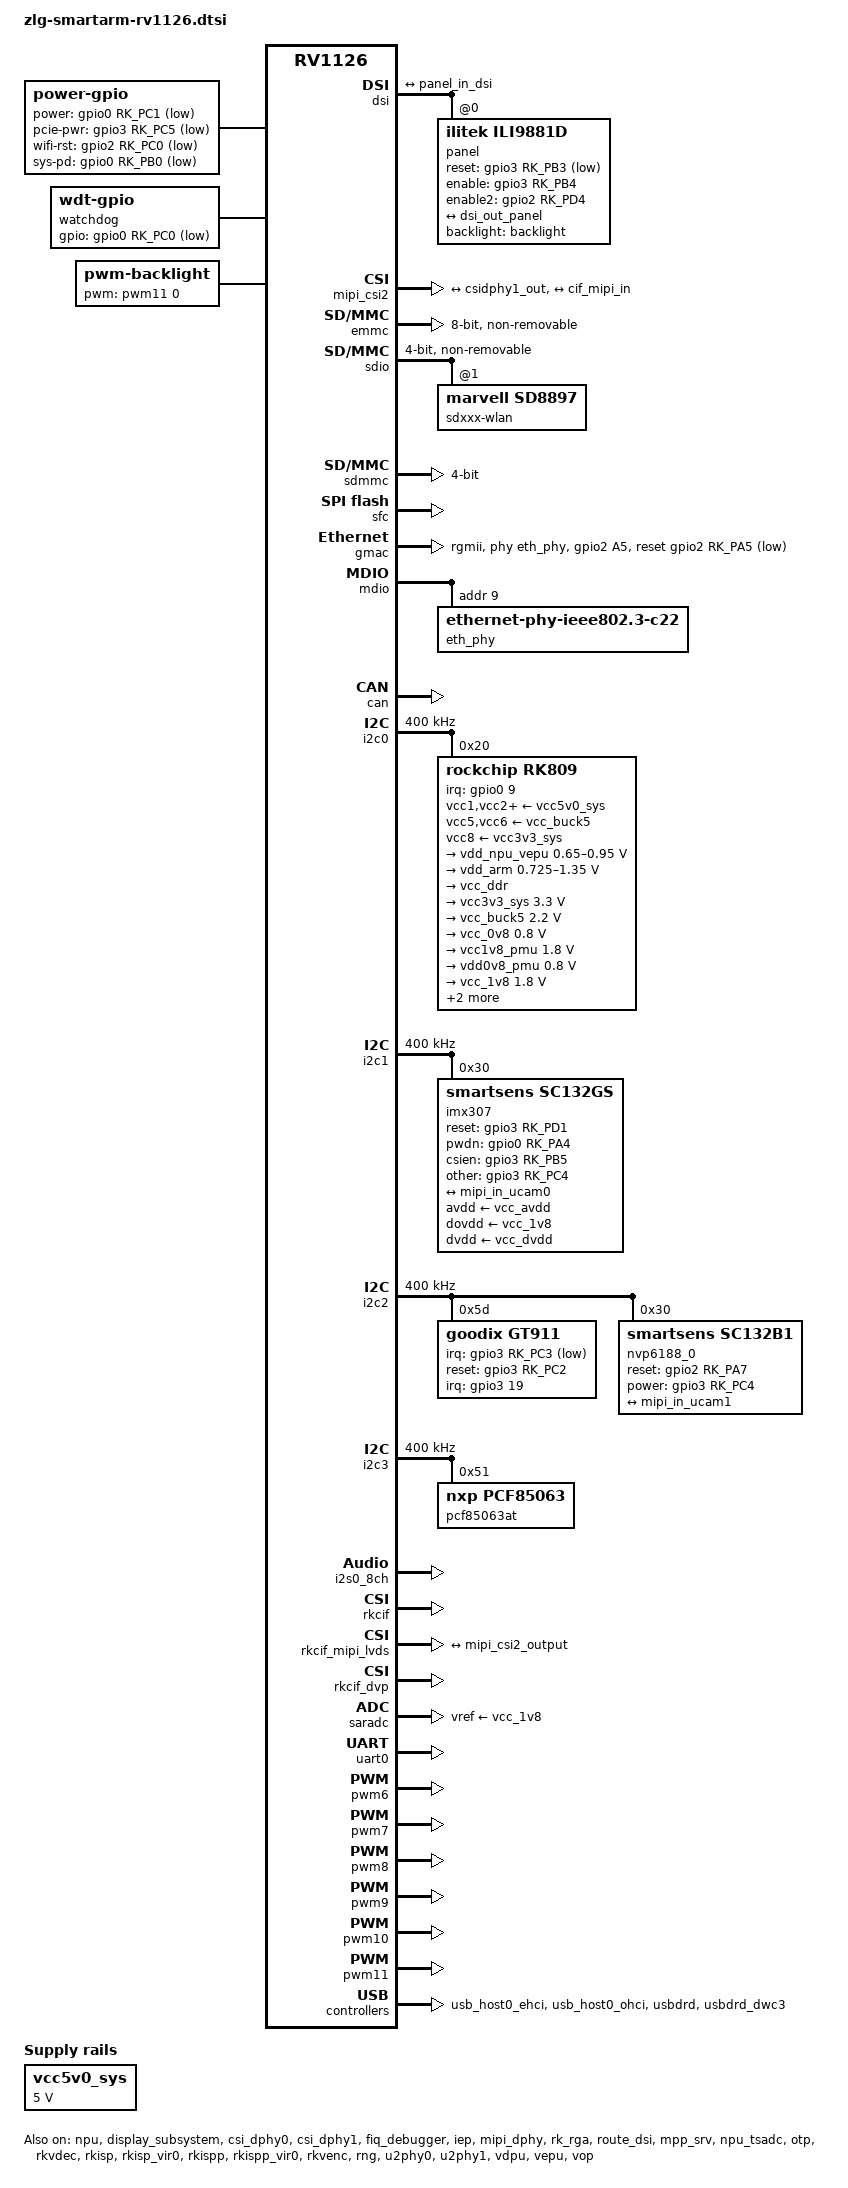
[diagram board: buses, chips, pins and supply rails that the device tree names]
/dts-v1/;
#include <dt-bindings/display/drm_mipi_dsi.h>
#include <dt-bindings/input/input.h>
#include "rv1126.dtsi"
/ {

	power-gpio {
		compatible = "power-gpio";
		pinctrl-names = "default";
		pinctrl-0 = <&power_gpio_h>;
		power-gpios = <&gpio0 RK_PC1 GPIO_ACTIVE_LOW>;
		pcie-pwr = <&gpio3 RK_PC5 GPIO_ACTIVE_LOW>;
		wifi-rst = <&gpio2 RK_PC0 GPIO_ACTIVE_LOW>;
		sys-pd = <&gpio0 RK_PB0 GPIO_ACTIVE_LOW>;
		u-boot,dm-spl;
		status = "okay"; 
	};

	watchdog: watchdog {
		compatible = "linux,wdt-gpio";
		pinctrl-name = "default";
        pinctrl-0 = <&wdg_gpio_h>;
		gpios = <&gpio0 RK_PC0 GPIO_ACTIVE_LOW>;
		hw_algo = "toggle";
		hw_margin_ms = <600>; 
		always-running;
	}; 

	rk809_sound: rk809-sound {
		compatible = "simple-audio-card";
		simple-audio-card,format = "i2s";
		simple-audio-card,name = "rockchip,rk809-codec";
		simple-audio-card,mclk-fs = <256>;
		simple-audio-card,widgets =
			"Microphone", "Mic Jack",
			"Headphone", "Headphone Jack";
		simple-audio-card,routing =
			"Mic Jack", "MICBIAS1",
			"IN1P", "Mic Jack",
			"Headphone Jack", "HPOL",
			"Headphone Jack", "HPOR"; 
		simple-audio-card,cpu {
			sound-dai = <&i2s0_8ch>;
		};
		simple-audio-card,codec {
			sound-dai = <&rk809_codec>;
		};
	};

	dummy_codec: dummy-codec {
		compatible = "rockchip,dummy-codec";
		#sound-dai-cells = <0>;
	};

	pdm_mic_array: pdm-mic_array {
		status = "disabled";
		compatible = "simple-audio-card";
		simple-audio-card,name = "rockchip,pdm-mic-array";
		simple-audio-card,cpu {
			sound-dai = <&pdm>;
		};
		simple-audio-card,codec {
			sound-dai = <&dummy_codec>;
		};
	};

	backlight: backlight {
		compatible = "pwm-backlight";
		pwms = <&pwm11 0 25000 0>;
		brightness-levels = <
			  0   1   2   3   4   5   6   7
			  8   9  10  11  12  13  14  15
			 16  17  18  19  20  21  22  23
			 24  25  26  27  28  29  30  31
			 32  33  34  35  36  37  38  39
			 40  41  42  43  44  45  46  47
			 48  49  50  51  52  53  54  55
			 56  57  58  59  60  61  62  63
			 64  65  66  67  68  69  70  71
			 72  73  74  75  76  77  78  79
			 80  81  82  83  84  85  86  87
			 88  89  90  91  92  93  94  95
			 96  97  98  99 100 101 102 103
			104 105 106 107 108 109 110 111
			112 113 114 115 116 117 118 119
			120 121 122 123 124 125 126 127
			128 129 130 131 132 133 134 135
			136 137 138 139 140 141 142 143
			144 145 146 147 148 149 150 151
			152 153 154 155 156 157 158 159
			160 161 162 163 164 165 166 167
			168 169 170 171 172 173 174 175
			176 177 178 179 180 181 182 183
			184 185 186 187 188 189 190 191
			192 193 194 195 196 197 198 199
			200 201 202 203 204 205 206 207
			208 209 210 211 212 213 214 215
			216 217 218 219 220 221 222 223
			224 225 226 227 228 229 230 231
			232 233 234 235 236 237 238 239
			240 241 242 243 244 245 246 247
			248 249 250 251 252 253 254 255>;
		default-brightness-level = <200>;
	};

	vcc5v0_sys: vccsys {
		compatible = "regulator-fixed";
		regulator-name = "vcc5v0_sys";
		regulator-always-on;
		regulator-boot-on;
		regulator-min-microvolt = <5000000>;
		regulator-max-microvolt = <5000000>;
	};
};

&npu {
	npu-supply = <&vdd_npu_vepu>;
};

&rkvenc_opp_table {
	/*
	 * max IR-drop values on different freq condition for this board!
	 */
	rockchip,board-irdrop = <
	     /* MHz	MHz	uV */
		500	594	50000
	>;
};


&cpu0 {
	cpu-supply = <&vdd_arm>;
};

&cpu_tsadc {
	status = "okay";
};

&display_subsystem {
	status = "okay";
};

&dsi {
	status = "okay";

	rockchip,lane-rate = <480>;
	panel@0 {
		compatible = "ilitek,ili9881d", "simple-panel-dsi";
		pinctrl-names = "default";
		pinctrl-0 = <&lcd_gpio_h>;
		reg = <0>;
		backlight = <&backlight>;
	//	power-supply = <&vcc18_lcd_n>;
		reset-gpios = <&gpio3 RK_PB3 GPIO_ACTIVE_LOW>;
		enable-gpios = <&gpio3 RK_PB4 GPIO_ACTIVE_HIGH>;
		enable2-gpios = <&gpio2 RK_PD4 GPIO_ACTIVE_HIGH>;
		prepare-delay-ms = <5>;
		reset-delay-ms = <30>;
		init-delay-ms = <80>;
		disable-delay-ms = <10>;
		unprepare-delay-ms = <5>;

		width-mm = <68>;
		height-mm = <121>;

		dsi,flags = <(MIPI_DSI_MODE_VIDEO | MIPI_DSI_MODE_VIDEO_BURST |
			      MIPI_DSI_MODE_LPM | MIPI_DSI_MODE_EOT_PACKET)>;
		dsi,format = <MIPI_DSI_FMT_RGB888>;
		dsi,lanes = <4>;

		panel-init-sequence = [
		// type,delay,len,payload
			15 00 02 ee 50
			39 00 03 ea 85 55
			15 00 02 30 00
			15 00 02 31 00
			39 00 03 90 50 15
			15 00 02 24 20
			15 00 02 56 83
			15 00 02 79 00
			15 00 02 7a 20
			15 00 02 7d 08
			15 00 02 95 74
			15 00 02 97 09
			15 00 02 99 00
			15 00 02 ee 60
			15 00 02 30 01
			15 00 02 27 22
			15 00 02 3a a4
			15 00 02 3b 00
			15 00 02 3c 1a
			15 00 02 3d 11
			15 00 02 3e 93
			15 00 02 42 64
			15 00 02 43 64
			15 00 02 44 0b
			15 00 02 46 4e
			15 00 02 8b 90
			15 00 02 8d 45
			15 00 02 91 11
			15 00 02 92 11
			15 00 02 93 9f
			15 00 02 9a 00
			15 00 02 9c 80
			39 00 06 47 0f 24 2c 39 36
			39 00 06 5A 0f 24 2c 39 36
			39 00 06 4C 4a 40 51 31 2f
			39 00 06 5F 4a 40 51 31 2f
			39 00 06 51 2d 10 25 1f 30
			39 00 06 64 2d 10 25 1f 30
			39 00 05 56 37 46 5b 7F
			39 00 05 69 37 46 5b 7F
			15 00 02 ee 70
			39 00 05 00 03 07 00 01
			39 00 05 04 08 0c 55 01
			39 00 03 0c 05 3d
			39 00 06 10 05 08 00 01 05
			39 00 06 15 00 15 0d 08 00
			39 00 03 29 05 3d
			39 00 06 60 3c 3c 07 05 17
			39 00 06 65 15 13 11 01 03
			39 00 06 6a 3c 3c 3c 3c 3c
			39 00 06 6f 3c 3c 3c 3c 3c
			39 00 03 74 3C 3c
			39 00 06 80 3c 3c 06 04 16
			39 00 06 85 14 12 10 00 02
			39 00 06 8a 3c 3c 3c 3c 3c
			39 00 06 8f 3c 3c 3c 3c 3c
			39 00 03 94 3c 3c
			39 00 03 ea 00 00
			15 00 02 ee 00
			05 c8 02 11 00
			05 c8 02 29 00
		];

		display-timings {
			native-mode = <&timing0>;

			timing0: timing0 {
				clock-frequency = <65000000>;
				hactive = <800>;
				vactive = <1280>;
				hfront-porch = <80>;
				hsync-len = <20>;
				hback-porch = <20>;
				vfront-porch = <15>;
				vsync-len = <6>;
				vback-porch = <8>;
				hsync-active = <0>;
				vsync-active = <0>;
				de-active = <0>;
				pixelclk-active = <0>;
			};
		};

		ports {
			#address-cells = <1>;
			#size-cells = <0>;

			port@0 {
				reg = <0>;
				panel_in_dsi: endpoint {
					remote-endpoint = <&dsi_out_panel>;
				};
			};
		};
	};

	ports {
		#address-cells = <1>;
		#size-cells = <0>;

		port@1 {
			reg = <1>;
			dsi_out_panel: endpoint {
				remote-endpoint = <&panel_in_dsi>;
			};
		};
	};
};

&csi_dphy0 {
	status = "okay";

	ports {
		#address-cells = <1>;
		#size-cells = <0>;

		port@0 {
			reg = <0>;
			#address-cells = <1>;
			#size-cells = <0>;

			mipi_in_ucam0: endpoint@1 {
				reg = <1>;
				remote-endpoint = <&ucam_out0>;
				data-lanes = <1 2 3 4>;
			};
		};
		port@1 {
			reg = <1>;
			#address-cells = <1>;
			#size-cells = <0>;

			csidphy0_out: endpoint@0 {
				reg = <0>;
				remote-endpoint = <&isp_in>;
			};
		};		
	};
};

&csi_dphy1 {
	status = "okay";

	ports {
		#address-cells = <1>;
		#size-cells = <0>;

		port@0 {
			reg = <0>;
			#address-cells = <1>;
			#size-cells = <0>;

			mipi_in_ucam1: endpoint@1 {
				reg = <1>;
				remote-endpoint = <&ucam_out1>;
				data-lanes = <1 2 3 4>;
			};
		};
		port@1 {
			reg = <1>;
			#address-cells = <1>;
			#size-cells = <0>;

			csidphy1_out: endpoint@0 {
				reg = <0>;
				remote-endpoint = <&mipi_csi2_input>;
			};
		};		
	};
};


&mipi_csi2 {
	status = "okay";

	ports {
		#address-cells = <1>;
		#size-cells = <0>;

		port@0 {
			reg = <0>;
			#address-cells = <1>;
			#size-cells = <0>;

			mipi_csi2_input: endpoint@1 {
				reg = <1>;
				remote-endpoint = <&csidphy1_out>;
				data-lanes = <1 2 3 4>;
			};
		};

		port@1 {
			reg = <1>;
			#address-cells = <1>;
			#size-cells = <0>;

			mipi_csi2_output: endpoint@0 {
				reg = <0>;
				remote-endpoint = <&cif_mipi_in>;
				data-lanes = <1 2 3 4>;
			};
		};
	};
};

&emmc {
	bus-width = <8>;
	cap-mmc-highspeed;
	non-removable;
	mmc-hs200-1_8v;
	rockchip,default-sample-phase = <90>;
	supports-emmc;
	/delete-property/ pinctrl-names;
	/delete-property/ pinctrl-0;
	status = "okay";
};

&sdio {
	max-frequency = <200000000>;
	bus-width = <4>;
	cap-sd-highspeed;
	cap-sdio-irq;
	keep-power-in-suspend;
	non-removable;
	rockchip,default-sample-phase = <90>;
	sd-uhs-sdr104;
	supports-sdio;
	no-1-8-v;
	non-removable;
	cap-power-off-card;
	pm-ignore-notify;
	status = "okay";
	sdxxx-wlan {
        compatible = "marvell,sd8897";
        reg = <1>;
        drv_mode = <3>;   //1-mlan 2-uap  3-mlan uap
        drvdbg = <1>;
        cal_data_cfg = "WlanCalData_ext_sd8977.conf";
        cfg80211_wext=<0xf>;

    };
};

&sdmmc {
	bus-width = <4>;
	cap-mmc-highspeed;
	cap-sd-highspeed;
	card-detect-delay = <200>;
	rockchip,default-sample-phase = <90>;
	supports-sd;
	sd-uhs-sdr12;
	sd-uhs-sdr25;
	sd-uhs-sdr104;
	vqmmc-supply = <&vccio_sd>;
	status = "okay";
};	

&sfc {
//	/delete-property/ pinctrl-names;
//	/delete-property/ pinctrl-0;
	status = "okay";
};

&fiq_debugger {
	status = "okay";
};

&gmac {
	phy-mode = "rgmii";
	clock_in_out = "output";

	snps,reset-gpio = <&gpio2 RK_PA5 GPIO_ACTIVE_LOW>;
	snps,reset-active-low;
	/* Reset time is 20ms, 100ms for rtl8211f */
	snps,reset-delays-us = <0 20000 100000>;

	assigned-clocks = <&cru CLK_GMAC_SRC>, <&cru CLK_GMAC_TX_RX>, <&cru CLK_GMAC_ETHERNET_OUT>;
	assigned-clock-parents = <&cru CLK_GMAC_SRC_M1>, <&cru RGMII_MODE_CLK>;
	assigned-clock-rates = <125000000>, <0>, <25000000>;

	pinctrl-names = "default";
	pinctrl-0 = <&rgmiim1_pins &eth_gpio_h>;

	tx_delay = <0x2a>;
	rx_delay = <0x1a>;

	phy-handle = <&eth_phy>;
	status = "okay";
};


&mdio {
	eth_phy: phy@9 {
		compatible = "ethernet-phy-ieee802.3-c22";
		reg = <0x9>;
	};
};

&can {
	pinctrl-names = "default";
	pinctrl-0 = <&canm1_pins>;
	status = "okay";
};

&i2c0 {
	status = "okay";
	clock-frequency = <400000>;

	rk809: pmic@20 {
		compatible = "rockchip,rk809";
		reg = <0x20>;
		interrupt-parent = <&gpio0>;
		interrupts = <9 IRQ_TYPE_LEVEL_LOW>;
		pinctrl-names = "default", "pmic-sleep",
			"pmic-power-off", "pmic-reset";
		pinctrl-0 = <&pmic_int>;
		pinctrl-1 = <&soc_slppin_gpio>, <&rk817_slppin_slp>;
		pinctrl-2 = <&soc_slppin_gpio>, <&rk817_slppin_pwrdn>;
		pinctrl-3 = <&soc_slppin_slp>, <&rk817_slppin_rst>;
		rockchip,system-power-controller;
		wakeup-source;
		#clock-cells = <1>;
		clock-output-names = "rk808-clkout1", "rk808-clkout2";
		/* 0: rst the pmic, 1: rst regs (default in codes) */
		pmic-reset-func = <0>;

		vcc1-supply = <&vcc5v0_sys>;
		vcc2-supply = <&vcc5v0_sys>;
		vcc3-supply = <&vcc5v0_sys>;
		vcc4-supply = <&vcc5v0_sys>;
		vcc5-supply = <&vcc_buck5>;
		vcc6-supply = <&vcc_buck5>;
		vcc7-supply = <&vcc5v0_sys>;
		vcc8-supply = <&vcc3v3_sys>;
		vcc9-supply = <&vcc5v0_sys>;

		pwrkey {
			status = "okay";
		};

		pinctrl_rk8xx: pinctrl_rk8xx {
			gpio-controller;
			#gpio-cells = <2>;

			/omit-if-no-ref/
			rk817_slppin_null: rk817_slppin_null {
				pins = "gpio_slp";
				function = "pin_fun0";
			};

			/omit-if-no-ref/
			rk817_slppin_slp: rk817_slppin_slp {
				pins = "gpio_slp";
				function = "pin_fun1";
			};

			/omit-if-no-ref/
			rk817_slppin_pwrdn: rk817_slppin_pwrdn {
				pins = "gpio_slp";
				function = "pin_fun2";
			};

			/omit-if-no-ref/
			rk817_slppin_rst: rk817_slppin_rst {
				pins = "gpio_slp";
				function = "pin_fun3";
			};
		};

		regulators {
			vdd_npu_vepu: DCDC_REG1 {
				regulator-always-on;
				regulator-boot-on;
				regulator-min-microvolt = <650000>;
				regulator-max-microvolt = <950000>;
				regulator-ramp-delay = <6001>;
				regulator-initial-mode = <0x2>;
				regulator-name = "vdd_npu_vepu";
				regulator-state-mem {
					regulator-off-in-suspend;
				};
			};

			vdd_arm: DCDC_REG2 {
				regulator-always-on;
				regulator-boot-on;
				regulator-min-microvolt = <725000>;
				regulator-max-microvolt = <1350000>;
				regulator-ramp-delay = <6001>;
				regulator-initial-mode = <0x2>;
				regulator-name = "vdd_arm";
				regulator-state-mem {
					regulator-off-in-suspend;
				};
			};

			vcc_ddr: DCDC_REG3 {
				regulator-always-on;
				regulator-boot-on;
				regulator-initial-mode = <0x2>;
				regulator-name = "vcc_ddr";
				regulator-state-mem {
					regulator-on-in-suspend;
				};
			};

			vcc3v3_sys: DCDC_REG4 {
				regulator-always-on;
				regulator-boot-on;
				regulator-min-microvolt = <3300000>;
				regulator-max-microvolt = <3300000>;
				regulator-initial-mode = <0x2>;
				regulator-name = "vcc3v3_sys";
				regulator-state-mem {
					regulator-on-in-suspend;
					regulator-suspend-microvolt = <3300000>;
				};
			};

			vcc_buck5: DCDC_REG5 {
				regulator-always-on;
				regulator-boot-on;
				regulator-min-microvolt = <2200000>;
				regulator-max-microvolt = <2200000>;
				regulator-name = "vcc_buck5";
				regulator-state-mem {
					regulator-on-in-suspend;
					regulator-suspend-microvolt = <2200000>;
				};
			};

			vcc_0v8: LDO_REG1 {
				regulator-always-on;
				regulator-boot-on;
				regulator-min-microvolt = <800000>;
				regulator-max-microvolt = <800000>;
				regulator-name = "vcc_0v8";
				regulator-state-mem {
					regulator-off-in-suspend;
				};
			};

			vcc1v8_pmu: LDO_REG2 {
				regulator-always-on;
				regulator-boot-on;
				regulator-min-microvolt = <1800000>;
				regulator-max-microvolt = <1800000>;
				regulator-name = "vcc1v8_pmu";
				regulator-state-mem {
					regulator-on-in-suspend;
					regulator-suspend-microvolt = <1800000>;
				};
			};

			vdd0v8_pmu: LDO_REG3 {
				regulator-always-on;
				regulator-boot-on;
				regulator-min-microvolt = <800000>;
				regulator-max-microvolt = <800000>;
				regulator-name = "vcc0v8_pmu";
				regulator-state-mem {
					regulator-on-in-suspend;
					regulator-suspend-microvolt = <800000>;
				};
			};

			vcc_1v8: LDO_REG4 {
				regulator-always-on;
				regulator-boot-on;
				regulator-min-microvolt = <1800000>;
				regulator-max-microvolt = <1800000>;
				regulator-name = "vcc_1v8";
				regulator-state-mem {
					regulator-on-in-suspend;
					regulator-suspend-microvolt = <1800000>;
				};
			};

			vcc_dovdd: LDO_REG5 {
				regulator-always-on;
				regulator-min-microvolt = <1800000>;
				regulator-max-microvolt = <1800000>;
				regulator-name = "vcc_dovdd";
				regulator-state-mem {
					regulator-on-in-suspend;
				//	regulator-suspend-microvolt = <1800000>;
				};
			};

			vcc_dvdd: LDO_REG6 {
				regulator-min-microvolt = <1200000>;
				regulator-max-microvolt = <1200000>;
				regulator-name = "vcc_dvdd";
				regulator-state-mem {
					regulator-off-in-suspend;
				};
			};

			vcc_avdd: LDO_REG7 {
				regulator-min-microvolt = <2800000>;
				regulator-max-microvolt = <2800000>;
				regulator-name = "vcc_avdd";
				regulator-state-mem {
					regulator-off-in-suspend;
				};
			};

			vccio_sd: LDO_REG8 {
				regulator-always-on;
				regulator-boot-on;
				regulator-min-microvolt = <1800000>;
				regulator-max-microvolt = <3300000>;
				regulator-name = "vccio_sd";
				regulator-state-mem {
					regulator-off-in-suspend;
				};
			};

			vcc3v3_sd: LDO_REG9 {
				regulator-always-on;
				regulator-boot-on;
				regulator-min-microvolt = <3300000>;
				regulator-max-microvolt = <3300000>;
				regulator-name = "vcc3v3_sd";
				regulator-state-mem {
					regulator-off-in-suspend;
				};
			};

			vcc5v0_host: SWITCH_REG1 {
				regulator-name = "vcc5v0_host";
			};

			vcc_3v3: SWITCH_REG2 {
				regulator-always-on;
				regulator-boot-on;
				regulator-name = "vcc_3v3";
			};
		};

		rk809_codec: codec {
			#sound-dai-cells = <0>;
			compatible = "rockchip,rk809-codec", "rockchip,rk817-codec";
			clocks = <&cru MCLK_I2S0_TX_OUT2IO>;
			clock-names = "mclk";
			pinctrl-names = "default";
			assigned-clocks = <&cru MCLK_I2S0_TX_OUT2IO>;
			assigned-clock-parents = <&cru MCLK_I2S0_TX>;
			pinctrl-0 = <&i2s0m0_mclk>;
			hp-volume = <20>;
			spk-volume = <3>;
		};

	};
};

&i2c1 {
	status = "okay";
	clock-frequency = <400000>;
	
	// imx307 to sc130
	/*sc132gs: sc132gs@30{
        status = "okay";
        //compatible = "firefly,xc7160";
		compatible = "smartsens,sc132gs";
        reg = <0x30>;
 
        clock-names = "xvclk";
        power-domains = <&power RV1126_PD_VI>;
        //pinctrl-names = "default";
		pinctrl-names = "rockchip,camera_default";

		clocks = <&cru CLK_MIPICSI_OUT>;
        pinctrl-0 = <&mipicsi_clk0 &mipicsi0_gpios>;

		power-gpios = <&gpio3 RK_PB5 GPIO_ACTIVE_HIGH>;
		reset-gpios = <&gpio3 RK_PD1 GPIO_ACTIVE_HIGH>;
		pwdn-gpios = <&gpio0 RK_PA4 GPIO_ACTIVE_HIGH>;

        //firefly,clkout-enabled-index = <0>;
        rockchip,camera-module-index = <1>;
        rockchip,camera-module-facing = "front";
		rockchip,camera-module-name = "MTV4-IR-E-P";
        rockchip,camera-module-lens-name = "40IRC-4MP-F16";
        port {
			ucam_out0: endpoint {
				remote-endpoint = <&mipi_in_ucam0>;
                data-lanes = <1 2 3 4>;
				bus-type = <4>;
            };
        };
    };
	*/
		
	imx307: imx307@30 {
		//compatible = "sony,imx307";
		//reg = <0x1a>;
		status = "okay";
		//clock-frequency=<100000>;
		compatible = "smartsens,sc132gs";
        reg = <0x30>;
		clocks = <&cru CLK_MIPICSI_OUT>;
		clock-names = "xvclk";
		power-domains = <&power RV1126_PD_VI>;
		pinctrl-names = "rockchip,camera_default";
		pinctrl-0 = <&mipicsi_clk0 &mipicsi0_gpios>;
		avdd-supply = <&vcc_avdd>;
		dovdd-supply = <&vcc_1v8>;
		dvdd-supply = <&vcc_dvdd>;
		reset-gpios = <&gpio3 RK_PD1 GPIO_ACTIVE_HIGH>;
		pwdn-gpios = <&gpio0 RK_PA4 GPIO_ACTIVE_HIGH>;
		csien-gpios = <&gpio3 RK_PB5 GPIO_ACTIVE_HIGH>;
		other-gpios = <&gpio3 RK_PC4 GPIO_ACTIVE_HIGH>;
		
		rockchip,camera-module-index = <1>;
		rockchip,camera-module-facing = "front";
		rockchip,camera-module-name = "MTV4-IR-E-P";
		rockchip,camera-module-lens-name = "40IRC-4MP-F16";

		port {
			ucam_out0: endpoint {
				remote-endpoint = <&mipi_in_ucam0>;
				data-lanes = <1 2 3 4>;
				bus-type = <4>;
			};
		};
	};
	

};

&i2c2 {
	clock-frequency = <400000>;
	status = "okay";

	gt911@5d {
        compatible = "goodix,gt911"; 
        reg = <0x5d>;
        pinctrl-names = "default";
		pinctrl-0 = <&gt9xx_gpios>;
		interrupt-parent = <&gpio3>;
		interrupts = <19 IRQ_TYPE_LEVEL_LOW>;
		irq-gpios = <&gpio3 RK_PC3 1>;
		reset-gpios = <&gpio3 RK_PC2 GPIO_ACTIVE_HIGH>;    
    }; 

	nvp6188_0: nvp6188_0@30 {
		//compatible = "nvp6188";
		compatible = "smartsens,sc132b1";
		reg = <0x30>;
		clocks = <&cru CLK_MIPICSI_OUT>;
		clock-names = "xvclk";
		// power-domains = <&power RV1126_PD_VI>;
		pinctrl-names = "rockchip,camera_default";
		pinctrl-0 = <&mipicsi_clk1 &mipicsi1_gpios>;
		reset-gpios = <&gpio2 RK_PA7 GPIO_ACTIVE_HIGH>;
		power-gpios = <&gpio3 RK_PC4 GPIO_ACTIVE_HIGH>;
		rockchip,camera-module-index = <0>;
		rockchip,camera-module-facing = "front";
		rockchip,camera-module-name = "nvp6188";
		rockchip,camera-module-lens-name = "nvp6188";
		port {
			ucam_out1: endpoint {
				remote-endpoint = <&mipi_in_ucam1>;
                data-lanes = <1 2 3 4>;
			};
		};
	};
	
	/*sc133gs: sc133gs@30{
        status = "okay";
        //compatible = "firefly,xc7160";
		compatible = "smartsens,sc132gs";
        reg = <0x30>;
 
        clock-names = "xvclk";
        power-domains = <&power RV1126_PD_VI>;
        //pinctrl-names = "default";
		pinctrl-names = "rockchip,camera_default";

		clocks = <&cru CLK_MIPICSI_OUT>;
        pinctrl-0 = <&mipicsi_clk1 &mipicsi1_gpios>;

		power-gpios = <&gpio3 RK_PC4 GPIO_ACTIVE_HIGH>;
		reset-gpios = <&gpio2 RK_PA7 GPIO_ACTIVE_HIGH>;
		//pwdn-gpios = <&gpio0 RK_PA4 GPIO_ACTIVE_HIGH>;

        //firefly,clkout-enabled-index = <0>;
        rockchip,camera-module-index = <0>;
        rockchip,camera-module-facing = "front";
		rockchip,camera-module-name = "MTV4-IR-E-P";
        rockchip,camera-module-lens-name = "40IRC-4MP-F16";
        port {
			ucam_out1: endpoint {
				remote-endpoint = <&mipi_in_ucam1>;
                data-lanes = <1 2 3 4>;
			};
        };
    };*/
};

&i2c3 {

	clock-frequency = <400000>;
	status = "okay";

	pcf85063at:pcf85063@51 {
		reg = <0x51>;
		compatible = "nxp,pcf85063";
	};

};

&i2s0_8ch {
	status = "okay";
	#sound-dai-cells = <0>;
	rockchip,clk-trcm = <1>;
	rockchip,i2s-rx-route = <3 1 2 0>;
	pinctrl-names = "default";
	pinctrl-0 = <&i2s0m0_sclk_tx
		     &i2s0m0_lrck_tx
		     &i2s0m0_sdo0
		     &i2s0m0_sdo1_sdi3>;
};

&pdm {
	status = "disabled";
	#sound-dai-cells = <0>;
	pinctrl-names = "default";
	pinctrl-0 = <&pdmm0_clk
		     &pdmm0_clk1
		     &pdmm0_sdi0
		     &pdmm0_sdi1
		     &pdmm0_sdi2>;
};

&iep {
	status = "okay";
};

&iep_mmu {
	status = "okay";
};

&mipi_dphy {
	status = "okay";
};

&rk_rga {
	status = "okay";
};

&route_dsi {
	status = "okay";
};

&mpp_srv {
	status = "okay";
};

&npu {
//	npu-supply = <&vdd_npu>;
	status = "okay";
};

&npu_tsadc {
	status = "okay";
};

&optee {
	status = "disabled";
};

&otp {
	status = "okay";
};

&pinctrl {
	pmic {
		/omit-if-no-ref/
		pmic_int: pmic_int {
			rockchip,pins =
				<0 RK_PB1 RK_FUNC_GPIO &pcfg_pull_up>;
		};

		/omit-if-no-ref/
		soc_slppin_gpio: soc_slppin_gpio {
			rockchip,pins =
				<0 RK_PB2 RK_FUNC_GPIO &pcfg_output_low>;
		};

		/omit-if-no-ref/
		soc_slppin_slp: soc_slppin_slp {
			rockchip,pins =
				<0 RK_PB2 RK_FUNC_1 &pcfg_pull_none>;
		};

		/omit-if-no-ref/
		soc_slppin_rst: soc_slppin_rst {
			rockchip,pins =
				<0 RK_PB2 RK_FUNC_2 &pcfg_pull_none>;
		};
	};

	power-gpio-pinctrl {
		/omit-if-no-ref/
		power_gpio_h: power-gpio-h {
			rockchip,pins = <0 RK_PC1 RK_FUNC_GPIO &pcfg_pull_none>;
		};
	};

	eth-gpio-pinctrl {
		/omit-if-no-ref/
		eth_gpio_h: eth-gpio-h {
			rockchip,pins = <2 RK_PA5 RK_FUNC_GPIO &pcfg_pull_none>;
		};
	};

	lcd-gpio-pinctrl {
		/omit-if-no-ref/
		lcd_gpio_h: lcd-gpio-h {
			rockchip,pins = <3 RK_PB3 RK_FUNC_GPIO &pcfg_pull_none>,
							<3 RK_PB4 RK_FUNC_GPIO &pcfg_pull_none>,
							<2 RK_PD4 RK_FUNC_GPIO &pcfg_pull_none>;
		};
	};

	gt9xx-pinctrl {
		/omit-if-no-ref/
		gt9xx_gpios: gt9xx-gpios {
			rockchip,pins = <3 RK_PC2 RK_FUNC_GPIO &pcfg_pull_none>,
							<3 RK_PC3 RK_FUNC_GPIO &pcfg_pull_none>;
		};
	};

	wireless-wlan {
		/omit-if-no-ref/
		wifi_wake_host: wifi-wake-host {
			rockchip,pins = /*<2 RK_PC0 RK_FUNC_GPIO &pcfg_pull_none>,*/
							<3 RK_PC1 RK_FUNC_GPIO &pcfg_pull_none>,
							<3 RK_PB1 RK_FUNC_GPIO &pcfg_pull_none>;
		};
	};

	mipicsi0_gpio {
		/omit-if-no-ref/
		mipicsi0_gpios: mipicsi0-gpios {
			rockchip,pins = <0 RK_PA4 RK_FUNC_GPIO &pcfg_pull_none>,
							<3 RK_PD1 RK_FUNC_GPIO &pcfg_pull_none>,
							<3 RK_PB5 RK_FUNC_GPIO &pcfg_pull_none>;
		};
	};

	mipicsi1_gpio {
		/omit-if-no-ref/
		mipicsi1_gpios: mipicsi1-gpios {
			rockchip,pins = <2 RK_PA7 RK_FUNC_GPIO &pcfg_pull_none>,
							<3 RK_PC4 RK_FUNC_GPIO &pcfg_pull_none>;
		};
	};

	wdg-gpio-pinctrl {
		/omit-if-no-ref/
		wdg_gpio_h: wdg-gpio-h {
			rockchip,pins = <0 RK_PC0 RK_FUNC_GPIO &pcfg_pull_none>;
		};
	};
};

&pmu_io_domains {
	status = "okay";

	pmuio0-supply = <&vcc1v8_pmu>;
	pmuio1-supply = <&vcc3v3_sys>;
	vccio2-supply = <&vccio_sd>;
	vccio3-supply = <&vcc_3v3>;
	vccio4-supply = <&vcc_1v8>;
	vccio5-supply = <&vcc_3v3>;
	vccio6-supply = <&vcc_3v3>;
	vccio7-supply = <&vcc_1v8>;
};

&ramoops {
	status = "okay";
};

&rkvdec {
	status = "okay";
};

&rkcif {
	status = "okay";
};


&rkcif_mmu {
	status = "disabled";
};

&rkcif_mipi_lvds {
	status = "okay";

	port {
		/* MIPI CSI-2 endpoint */
		cif_mipi_in: endpoint {
			remote-endpoint = <&mipi_csi2_output>;
			data-lanes = <1 2 3 4>;
		};
	};
};

&rkcif_dvp {

	status = "okay";

	port {
		/* Parallel bus endpoint */
		/*
		cif_para_in: endpoint {
			remote-endpoint = <&cam_para_out1>;
			bus-width = <12>;
			hsync-active = <1>;
			vsync-active = <0>;
		};
		*/
	};
};

&rkisp {
	status = "okay";
};

&rkisp_vir0 {
	status = "okay";

	ports {
		port@0 {
			reg = <0>;
			#address-cells = <1>;
			#size-cells = <0>;

			isp_in: endpoint@0 {
				reg = <0>;
				remote-endpoint = <&csidphy0_out>;
			};
		};
		port@1 {
			reg = <1>;
			#address-cells = <1>;
			#size-cells = <0>;

			isp0_out: endpoint@1 {
				reg = <1>;
				remote-endpoint = <&ispp0_in>;
			};
		};
	};
};

&rkisp_mmu {
	status = "okay";
};

&rkispp {
	status = "okay";
	/* the max input w h and fps of mulit sensor */
	//max-input = <2688 1520 30>;
};

&rkispp_vir0 {
	status = "okay";
};

&rkispp_vir0 {
	status = "okay";

	port {
		#address-cells = <1>;
		#size-cells = <0>;
		ispp0_in: endpoint@0 {
			reg = <0>;
			// isp端port名，ispp输入
			remote-endpoint = <&isp0_out>;
		};
	};
};

&rkispp_mmu {
	status = "okay";
}; 

&rkvdec_mmu {
	status = "okay";
};

&rkvenc {
	venc-supply = <&vdd_npu_vepu>;
	status = "okay";
};

&rkvenc_mmu {
	status = "okay";
};

&rng {
	status = "okay";
};

&rockchip_suspend {
	status = "okay";
	rockchip,sleep-debug-en = <1>;
	rockchip,sleep-mode-config = <
		(0
		| RKPM_SLP_ARMOFF
		| RKPM_SLP_PMU_PMUALIVE_32K
		| RKPM_SLP_PMU_DIS_OSC
		| RKPM_SLP_PMIC_LP
		)
	>;
	rockchip,wakeup-config = <
		(0
		| RKPM_GPIO_WKUP_EN
		)
	>;
};

&saradc {
	status = "okay";
	vref-supply = <&vcc_1v8>;
};

&u2phy0 {
	status = "okay";
	u2phy_otg: otg-port {
		status = "okay";
	};
};

&u2phy1 {
	status = "okay";
	u2phy_host: host-port {
		status = "okay";
		phy-supply = <&vcc5v0_host>;
	};
};

&uart0 {
	pinctrl-names = "default";
	pinctrl-0 = <&uart0_xfer &uart0_ctsn>;
	status = "okay";
};

&pwm6 {
	status = "okay";
	pinctrl-names = "active";
	pinctrl-0 = <&pwm6m1_pins_pull_up>;
};

&pwm6 {
	status = "okay";
	pinctrl-names = "active";
	pinctrl-0 = <&pwm6m1_pins_pull_up>;
};

&pwm7 {
	status = "okay";
	pinctrl-names = "active";
	pinctrl-0 = <&pwm7m1_pins_pull_up>;
};

&pwm8 {
	status = "okay";
	pinctrl-names = "active";
	pinctrl-0 = <&pwm8m1_pins_pull_down>;
};

&pwm9 {
	status = "okay";
	pinctrl-names = "active";
	pinctrl-0 = <&pwm9m1_pins_pull_down>;
};

&pwm10 {
	status = "okay";
	pinctrl-names = "active";
	pinctrl-0 = <&pwm10m1_pins_pull_down>;
};

&pwm11 {
	status = "okay";
	pinctrl-names = "active";
	pinctrl-0 = <&pwm11m1_pins_pull_down>;
};	

&usb_host0_ehci {
	status = "okay";
};

&usb_host0_ohci {
	status = "okay";
};

&usbdrd {
	status = "okay";
};

&usbdrd_dwc3 {
	status = "okay";
	extcon = <&u2phy0>;
};

&vdpu {
	status = "okay";
};

&vepu {
	status = "okay";
};

&vpu_mmu {
	status = "okay";
};

&vop {
	status = "okay";
};

&vop_mmu {
	status = "okay";
};
